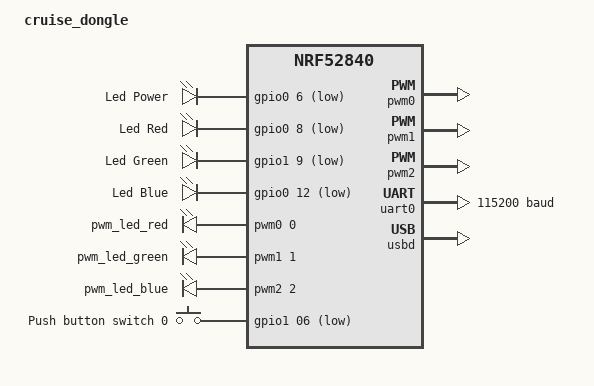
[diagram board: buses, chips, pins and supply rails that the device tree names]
// Copyright (c) 2023 Nordic Semiconductor ASA
// SPDX-License-Identifier: Apache-2.0

/dts-v1/;
#include <nordic/nrf52840_qiaa.dtsi>
#include "cruise_dongle-pinctrl.dtsi"
#include <zephyr/dt-bindings/input/input-event-codes.h>

/ {
	model = "cruise_dongle";
	compatible = "ardesia,cruise_dongle";

	chosen {
		zephyr,sram = &sram0;
		zephyr,flash = &flash0;
		zephyr,code-partition = &slot0_partition;
		zephyr,uart-mcumgr = &uart0;
	};

	leds {
		compatible = "gpio-leds";

		led_power: led_0 {
			gpios = < &gpio0 6 GPIO_ACTIVE_LOW >;
			label = "Led Power";
		};

		led_red: led_1 {
			gpios = < &gpio0 8 GPIO_ACTIVE_LOW>;
			label = "Led Red";
		};

		led_green: led_2 {
			gpios = < &gpio1 9 GPIO_ACTIVE_LOW >;
			label = "Led Green";
		};

		led_blue: led_3 {
			gpios = < &gpio0 12 GPIO_ACTIVE_LOW >;
			label = "Led Blue";
		};
	};

	pwmleds {
		compatible = "pwm-leds";

		pwm_led_red: pwm_led_red {
			pwms = <&pwm0 0 PWM_MSEC(20) PWM_POLARITY_INVERTED>;
		};

		pwm_led_green: pwm_led_green {
			pwms = <&pwm1 1 PWM_MSEC(20) PWM_POLARITY_INVERTED>;
		};

		pwm_led_blue: pwm_led_blue {
			pwms = <&pwm2 2 PWM_MSEC(20) PWM_POLARITY_INVERTED>;
		};
	};

	buttons {
		compatible = "gpio-keys";
		button0: button_0 {
			gpios = <&gpio1 06 (GPIO_PULL_UP | GPIO_ACTIVE_LOW)>;
			label = "Push button switch 0";
			zephyr,code = <INPUT_KEY_0>;
		};
	};

	aliases {
		mcuboot-button0 = &button0;
		mcuboot-led0 = &led_blue;
	};
};

&gpio1 {
	status = "okay";
};

&gpio0 {
	status = "okay";
};

&pwm0 {
	status = "okay";
	pinctrl-0 = <&pwm0_default>;
	pinctrl-1 = <&pwm0_sleep>;
	pinctrl-names = "default", "sleep";
};

&pwm1 {
	status = "okay";
	pinctrl-0 = <&pwm1_default>;
	pinctrl-1 = <&pwm1_sleep>;
	pinctrl-names = "default", "sleep";
};

&pwm2 {
	status = "okay";
	pinctrl-0 = <&pwm2_default>;
	pinctrl-1 = <&pwm2_sleep>;
	pinctrl-names = "default", "sleep";
};

&uart0 {
	compatible = "nordic,nrf-uarte";
	status = "okay";
	current-speed = <115200>;
	pinctrl-0 = <&uart0_default>;
	pinctrl-1 = <&uart0_sleep>;
	pinctrl-names = "default", "sleep";
};

&flash0 {
	partitions {
		compatible = "fixed-partitions";
		#address-cells = <1>;
		#size-cells = <1>;

		boot_partition: partition@0 {
			label = "mcuboot";
			reg = <0x0 0xc000>;
		};
		slot0_partition: partition@c000 {
			label = "image-0";
			reg = <0xc000 0x72000>;
		};
		slot1_partition: partition@7e000 {
			label = "image-1";
			reg = <0x7e000 0x72000>;
		};
		scratch_partition: partition@f0000 {
			label = "image-scratch";
			reg = <0xf0000 0xa000>;
		};
		storage_partition: partition@fa000 {
			label = "storage";
			reg = <0xfa000 0x6000>;
		};
	};
};

zephyr_udc0: &usbd {
	compatible = "nordic,nrf-usbd";
	status = "okay";
};

